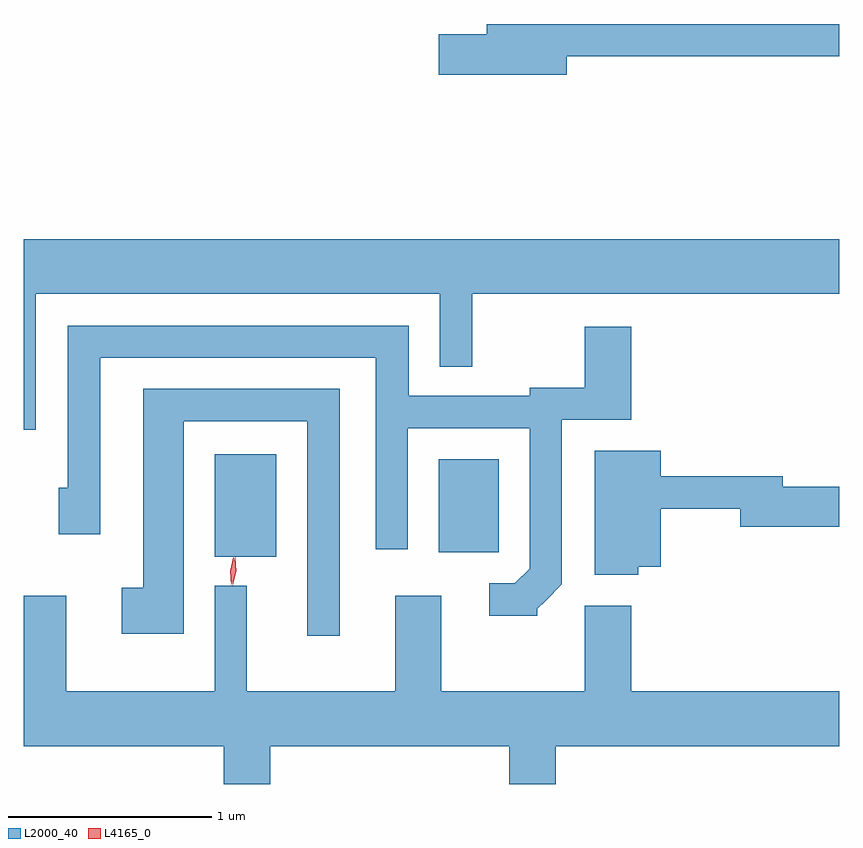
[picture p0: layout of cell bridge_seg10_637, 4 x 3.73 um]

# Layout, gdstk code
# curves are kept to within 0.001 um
import gdstk
lib = gdstk.Library(unit=1e-6, precision=1e-09)
def R(c, l, rs):  # rectangles x0, y0, x1, y1
    for r in rs: c.add(gdstk.rectangle(r[:2], r[2:], *l))
def P(c, l, *ps):  # polygons
    for p in ps: c.add(gdstk.Polygon(p, *l))
L2000_40 = (2000, 40)
L4165_0 = (4165, 0)

bridge_seg10_637 = lib.new_cell('bridge_seg10_637')
R(bridge_seg10_637, L2000_40, [(882.386,2143.706,882.689,2144.209), (883.486,2143.726,883.779,2144.184)])
P(bridge_seg10_637, L2000_40, [(884.114,2146.161),(885.45,2146.161),(885.45,2146.319),(883.721,2146.319),(883.721,2146.269),(883.486,2146.269),(883.486,2146.071),(884.114,2146.071)],
  [(881.509,2144.996),(883.491,2144.996),(883.491,2144.638),(883.649,2144.638),(883.649,2144.996),(885.45,2144.996),(885.45,2145.264),(881.45,2145.264),(881.45,2144.328),(881.509,2144.328)],
  [(883.969,2143.449),(884.089,2143.569),(884.089,2144.376),(884.429,2144.376),(884.429,2144.834),(884.201,2144.834),(884.201,2144.534),(883.931,2144.534),(883.931,2144.494),(883.339,2144.494),(883.339,2144.839),(881.666,2144.839),(881.666,2144.044),(881.621,2144.044),(881.621,2143.816),(881.824,2143.816),(881.824,2144.681),(883.176,2144.681),(883.176,2143.743),(883.334,2143.743),(883.334,2144.336),(883.931,2144.336),(883.931,2143.647),(883.859,2143.574),(883.733,2143.574),(883.733,2143.416),(883.969,2143.416)],
  [(882.999,2144.529),(882.036,2144.529),(882.036,2143.554),(881.931,2143.554),(881.931,2143.326),(882.234,2143.326),(882.234,2144.371),(882.841,2144.371),(882.841,2143.318),(882.999,2143.318)],
  [(884.464,2143.656),(884.574,2143.656),(884.574,2143.941),(884.966,2143.941),(884.966,2143.851),(885.45,2143.851),(885.45,2144.049),(885.174,2144.049),(885.174,2144.099),(884.574,2144.099),(884.574,2144.224),(884.251,2144.224),(884.251,2143.616),(884.464,2143.616)],
  [(882.659,2142.776),(883.831,2142.776),(883.831,2142.59),(884.059,2142.59),(884.059,2142.776),(885.45,2142.776),(885.45,2143.044),(884.429,2143.044),(884.429,2143.464),(884.201,2143.464),(884.201,2143.044),(883.499,2143.044),(883.499,2143.514),(883.271,2143.514),(883.271,2143.044),(882.544,2143.044),(882.544,2143.563),(882.386,2143.563),(882.386,2143.044),(881.659,2143.044),(881.659,2143.514),(881.45,2143.514),(881.45,2142.776),(882.431,2142.776),(882.431,2142.59),(882.659,2142.59)])
P(bridge_seg10_637, L4165_0, [(882.475,2143.564),(882.475,2143.564),(882.471,2143.634),(882.486,2143.702),(882.487,2143.703),(882.487,2143.702),(882.491,2143.633),(882.476,2143.564)],
  [(882.467,2143.568),(882.467,2143.568),(882.463,2143.635),(882.478,2143.7),(882.479,2143.7),(882.479,2143.7),(882.483,2143.633),(882.468,2143.568)])

lib.write_gds('bridge_seg10_637.gds')
